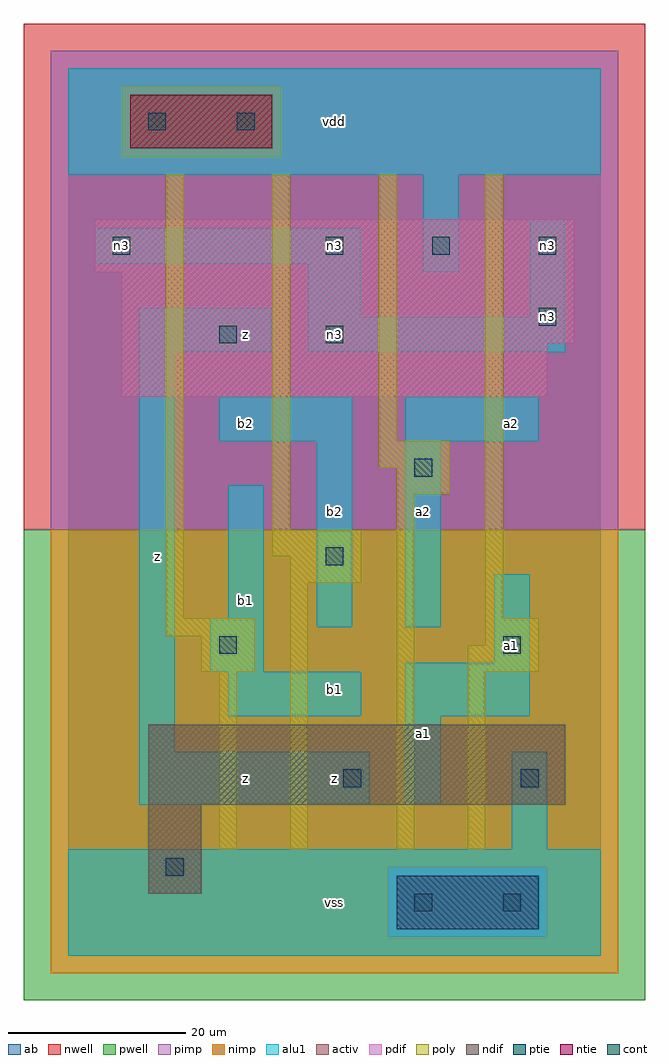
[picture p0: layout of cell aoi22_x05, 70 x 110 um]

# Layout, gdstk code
import gdstk
lib = gdstk.Library(unit=1e-6, precision=1e-09)
def R(c, l, rs):  # rectangles x0, y0, x1, y1
    for r in rs: c.add(gdstk.rectangle(r[:2], r[2:], *l))
def A(c, l, x, y, w, h, nx, ny, dx, dy):  # array of equal rectangles
    R(c, l, [(x+i*dx, y+j*dy, x+i*dx+w, y+j*dy+h) for i in range(nx) for j in range(ny)])
ndif = (3, 0)
pdif = (4, 0)
ntie = (5, 0)
ptie = (6, 0)
cont = (25, 0)
pwell = (41, 0)
nwell = (42, 0)
activ = (43, 0)
pimp = (44, 0)
nimp = (45, 0)
poly = (46, 0)
alu1 = (49, 0)
ab = (63, 0)

aoi22_x05 = lib.new_cell('aoi22_x05')
R(aoi22_x05, ndif, [(9,7,15,17), (9,17,56,26)])
R(aoi22_x05, pdif, [(6,63,54,69), (6,69,57,77), (3,77,57,83)])
R(aoi22_x05, ntie, [(7,91,23,97)])
R(aoi22_x05, ptie, [(37,3,53,9)])
A(aoi22_x05, cont, 29, 79, 2, 2, 3, 1, 12, 0)
R(aoi22_x05, cont, [(39,5,41,7), (49,5,51,7), (11,9,13,11), (31,19,33,21), (51,19,53,21), (17,34,19,36), (49,34,51,36), (29,44,31,46), (39,54,41,56), (17,69,19,71), (29,69,31,71), (53,71,55,73), (5,79,7,81), (9,93,11,95), (19,93,21,95)])
R(aoi22_x05, pwell, [(-5,-5,65,48)])
R(aoi22_x05, nwell, [(-5,48,65,105)])
R(aoi22_x05, activ, [(37,3,53,9), (9,7,15,17), (9,17,56,26), (6,63,54,69), (6,69,57,77), (3,77,57,83), (7,91,23,97)])
R(aoi22_x05, pimp, [(36,2,54,10), (-2,48,62,90), (-2,90,6,98), (24,90,62,98), (-2,98,62,102)])
R(aoi22_x05, nimp, [(-2,-2,62,2), (-2,2,36,10), (54,2,62,10), (-2,10,62,48), (6,90,24,98)])
R(aoi22_x05, poly, [(17,12,19,32), (25,12,27,42), (37,12,39,52), (45,12,47,32), (15,32,21,36), (45,32,53,35), (47,35,53,38), (11,36,21,38), (11,38,13,88), (47,38,49,88), (25,42,33,45), (23,45,33,48), (23,48,25,88), (37,52,43,55), (35,55,43,58), (35,58,37,88)])
R(aoi22_x05, alu1, [(0,0,60,12), (50,12,54,23), (8,17,34,23), (38,17,42,27), (8,23,12,68), (18,27,33,32), (38,27,52,33), (16,32,22,38), (48,33,52,43), (28,37,32,58), (38,37,42,58), (18,38,22,53), (17,58,32,63), (38,58,53,63), (8,68,23,73), (27,68,56,72), (27,72,33,78), (52,72,56,83), (40,77,44,88), (3,78,33,82), (0,88,60,100)])
R(aoi22_x05, ab, [(0,0,60,100)])
aoi22_x05.add(gdstk.Label('n3', (6,80), layer=49, texttype=0))
aoi22_x05.add(gdstk.Label('n3', (30,80), layer=49, texttype=0))
aoi22_x05.add(gdstk.Label('n3', (30,70), layer=49, texttype=0))
aoi22_x05.add(gdstk.Label('n3', (54,72), layer=49, texttype=0))
aoi22_x05.add(gdstk.Label('n3', (54,80), layer=49, texttype=0))
aoi22_x05.add(gdstk.Label('z', (10,45), layer=49, texttype=0))
aoi22_x05.add(gdstk.Label('z', (20,20), layer=49, texttype=0))
aoi22_x05.add(gdstk.Label('b1', (20,40), layer=49, texttype=0))
aoi22_x05.add(gdstk.Label('z', (20,70), layer=49, texttype=0))
aoi22_x05.add(gdstk.Label('b2', (20,60), layer=49, texttype=0))
aoi22_x05.add(gdstk.Label('z', (30,20), layer=49, texttype=0))
aoi22_x05.add(gdstk.Label('vss', (30,6), layer=49, texttype=0))
aoi22_x05.add(gdstk.Label('a1', (40,25), layer=49, texttype=0))
aoi22_x05.add(gdstk.Label('b1', (30,30), layer=49, texttype=0))
aoi22_x05.add(gdstk.Label('a2', (40,50), layer=49, texttype=0))
aoi22_x05.add(gdstk.Label('b2', (30,50), layer=49, texttype=0))
aoi22_x05.add(gdstk.Label('vdd', (30,94), layer=49, texttype=0))
aoi22_x05.add(gdstk.Label('a1', (50,35), layer=49, texttype=0))
aoi22_x05.add(gdstk.Label('a2', (50,60), layer=49, texttype=0))

lib.write_gds('aoi22_x05.gds')
